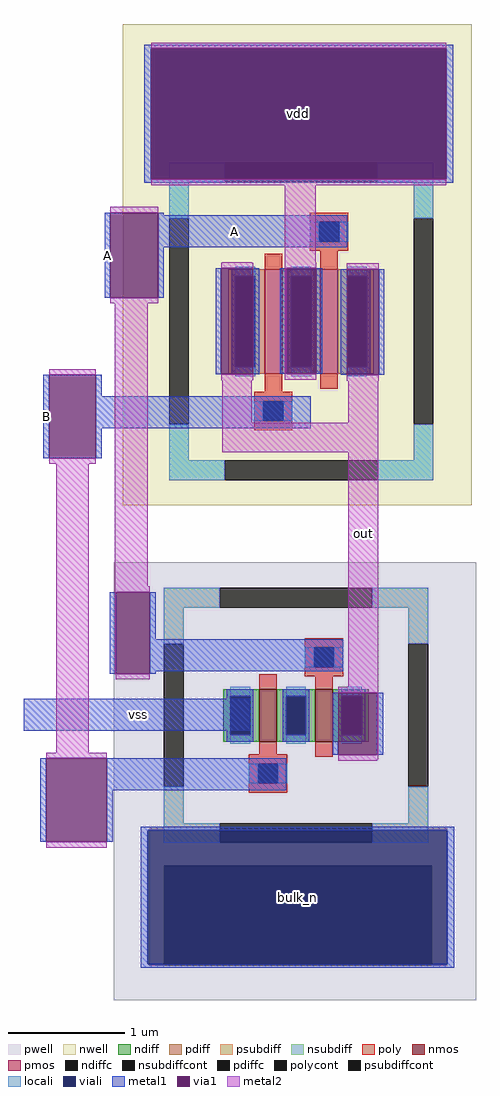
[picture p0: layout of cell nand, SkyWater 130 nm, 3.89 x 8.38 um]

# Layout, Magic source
magic
tech sky130A
magscale 1 2
<< nwell >>
rect -97 -60 503 767
<< pwell >>
rect -112 -910 511 -158
<< psubdiff >>
rect -51 -679 461 -615
rect -51 -850 -25 -679
rect 434 -850 461 -679
rect -51 -851 461 -850
<< nsubdiff >>
rect -45 502 459 726
<< psubdiffcont >>
rect -25 -850 434 -679
<< locali >>
rect -33 725 451 726
rect -41 -850 -25 -849
rect 434 -850 450 -849
<< viali >>
rect -48 500 459 725
rect -54 -679 461 -618
rect -54 -849 -25 -679
rect -25 -849 434 -679
rect 434 -849 461 -679
<< metal1 >>
rect -60 725 471 731
rect -60 500 -48 725
rect 459 500 471 725
rect -60 494 471 500
rect -128 297 -118 443
rect -36 438 -26 443
rect -36 383 289 438
rect -36 297 -26 383
rect 63 165 73 347
rect 128 165 138 347
rect 174 166 184 347
rect 236 166 246 347
rect 278 164 288 346
rect 343 164 353 346
rect -233 21 -223 164
rect -143 127 -133 164
rect -143 72 226 127
rect -143 21 -133 72
rect -119 -349 -109 -209
rect -50 -290 -40 -209
rect -50 -345 282 -290
rect -50 -349 -40 -345
rect -267 -447 127 -392
rect 264 -489 274 -382
rect 341 -489 351 -382
rect -238 -638 -228 -495
rect -124 -550 184 -495
rect -124 -638 -114 -550
rect -66 -618 473 -612
rect -66 -849 -54 -618
rect 461 -849 473 -618
rect -66 -855 473 -849
<< via1 >>
rect -48 500 459 725
rect -118 297 -36 443
rect 73 165 128 347
rect 184 166 236 347
rect 288 164 343 346
rect -223 21 -143 164
rect -109 -349 -50 -209
rect 274 -489 341 -382
rect -228 -638 -124 -495
<< metal2 >>
rect -48 725 459 735
rect -48 490 459 500
rect -118 443 -36 453
rect 74 357 125 358
rect 182 357 235 490
rect -118 287 -36 297
rect 73 347 128 357
rect -223 164 -143 174
rect -223 11 -143 21
rect -211 -485 -155 11
rect -110 -199 -54 287
rect 73 155 128 165
rect 182 347 236 357
rect 182 166 184 347
rect 182 156 236 166
rect 288 346 343 356
rect 74 82 125 155
rect 288 154 343 164
rect 291 82 342 154
rect 74 31 342 82
rect -110 -209 -50 -199
rect -110 -349 -109 -209
rect -110 -350 -50 -349
rect -109 -359 -50 -350
rect 291 -372 342 31
rect 274 -382 342 -372
rect -228 -495 -124 -485
rect 341 -489 342 -382
rect 274 -496 342 -489
rect 274 -499 341 -496
rect -228 -648 -124 -638
use sky130_fd_pr__pfet_01v8_H49BFK  sky130_fd_pr__pfet_01v8_H49BFK_0
transform 1 0 210 0 1 256
box -263 -309 263 309
use sky130_fd_pr__nfet_01v8_TFZGL8  sky130_fd_pr__nfet_01v8_TFZGL8_0
transform 1 0 201 0 1 -421
box -263 -255 263 255
<< labels >>
rlabel metal1 -98 383 289 438 1 A
rlabel nwell -48 500 459 725 1 vdd
rlabel metal1 -233 21 -223 164 1 B
rlabel metal1 -128 297 -118 443 1 A
rlabel pwell -54 -849 461 -618 1 bulk_n
rlabel space -267 -447 128 -392 1 vss
rlabel metal2 291 -382 342 164 1 out
<< end >>

# cell sky130_fd_pr__pfet_01v8_H49BFK: kit device sky130_fd_pr__pfet_01v8, w 0.9 l 0.15 m 1 nf 2 diffcov 100 polycov 100 guard 1 glc 1 grc 1 gtc 1 gbc 1 tbcov 100 rlcov 100 topc 1 botc 0 poverlap 0 doverlap 1 lmin 0.15 wmin 0.42 compatible {sky130_fd_pr__pfet_01v8 sky130_fd_pr__pfet_01v8_lvt sky130_fd_pr__pfet_01v8_hvt sky130_fd_pr__pfet_g5v0d10v5} full_metal 1 viagl 0 viagr 0 viagt 0 viagb 0 viagate 100 viadrn 100 viasrc 100

# cell sky130_fd_pr__nfet_01v8_TFZGL8: kit device sky130_fd_pr__nfet_01v8, w 0.45 l 0.150 m 1 nf 2 diffcov 100 polycov 100 guard 1 glc 1 grc 1 gtc 1 gbc 1 tbcov 100 rlcov 100 topc 0 botc 1 poverlap 0 doverlap 1 lmin 0.15 wmin 0.42 compatible {sky130_fd_pr__nfet_01v8 sky130_fd_pr__nfet_01v8_lvt sky130_fd_bs_flash__special_sonosfet_star sky130_fd_pr__nfet_g5v0d10v5 sky130_fd_pr__nfet_05v0_nvt} full_metal 1 viasrc 100 viadrn 100 viagate 100 viagb 0 viagr 0 viagl 0 viagt 0
